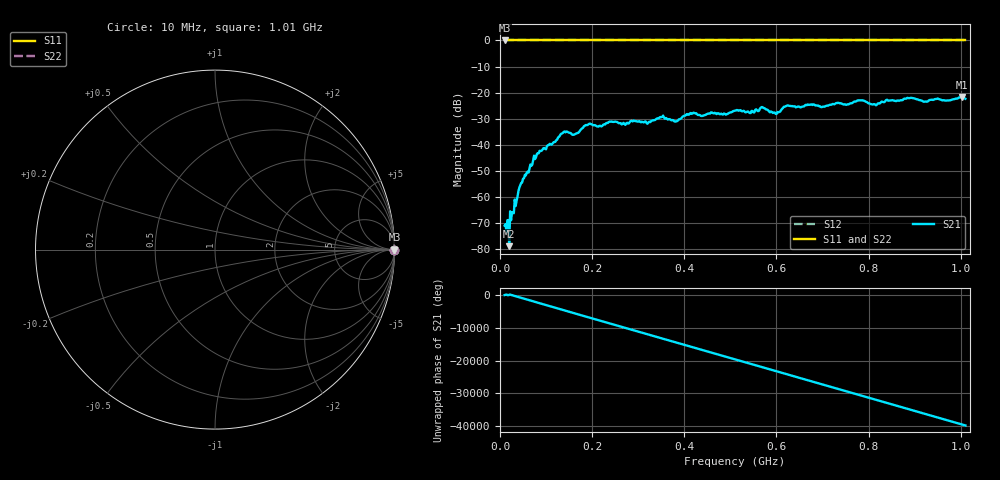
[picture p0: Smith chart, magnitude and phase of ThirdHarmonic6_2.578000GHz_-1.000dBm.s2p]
! 8/17/2025 5:26:34 AM
! C:\ANRITSUVNA\TEMP\TEMP.S2P
! CHANNEL.1
! TR.MEASUREMENT
! RAW.DATA
! RF.CORRECTION.OFF
! AVERAGING.OFF
! IF.BANDWIDTH: 5KHZ
! SWEEPTYPE:  FREQ.SWEEP(Linear)
! Reference Plane Port Info
! PORT:  PORT1  PORT2
! DISTANCE:  0  m  0  m
! TIME:  0  s  0  s
! PHASE.OFFSET:  0  deg.  0  deg.
! LOSS:  0  dB  0  dB
! REF.LOSS:  0  dB  0  dB
! REF.FREQ:  0  Hz  0  Hz
! Power Info
! POWER:  -20  dBm  -20  dBm
! EFF.POWER:  -20  dBm  -20  dBm
! SOURCE.ATTEN:  0  dB  0  dB
! TEST.ATTEN:  0  dB  0  dB
# GHZ S RI R 50.0
! FREQ.GHZ  S11RE  S11IM  S21RE  S21IM  S12RE  S12IM  S22RE  S22IM
!; PortSelection: Port_12
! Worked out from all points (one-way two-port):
!   501 points, 10 MHz to 1.01 GHz, reference 50 ohm
!   highest |S21| = -21.64 dB at 1.002 GHz (marker M1); lowest = -78.8 dB at 20 MHz (marker M2)
!   lowest |S11| = 0.0 dB at 10 MHz (marker M3)
!   |S11| at or under -10 dB: nowhere
!   |S22| runs from 0.0 to 0.0 dB; largest |S21 - S12| = 1.1
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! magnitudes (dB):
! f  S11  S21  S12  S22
! 10 MHz  0.0  -70.9  0.0  0.0
! 14 MHz  0.0  -73.3  0.0  0.0
! 16 MHz  0.0  -68.8  0.0  0.0
! 20 MHz  0.0  -78.8  0.0  0.0
! 46 MHz  0.0  -54.6  0.0  0.0
! 78 MHz  0.0  -44.8  0.0  0.0
! 136 MHz  0.0  -35.5  0.0  0.0
! 162 MHz  0.0  -36.0  0.0  0.0
! 178 MHz  0.0  -33.7  0.0  0.0
! 344 MHz  0.0  -29.9  0.0  0.0
! 382 MHz  0.0  -31.0  0.0  0.0
! 416 MHz  0.0  -28.1  0.0  0.0
! 510 MHz  0.0  -26.9  0.0  0.0
! 570 MHz  0.0  -25.6  0.0  0.0
! 596 MHz  0.0  -27.6  0.0  0.0
! 622 MHz  0.0  -25.0  0.0  0.0
! 678 MHz  0.0  -24.7  0.0  0.0
! 782 MHz  0.0  -23.0  0.0  0.0
! 814 MHz  0.0  -24.5  0.0  0.0
! 844 MHz  0.0  -23.1  0.0  0.0
! 1.002 GHz  0.0  -21.6  0.0  0.0
! 1.01 GHz  0.0  -22.3  0.0  0.0
